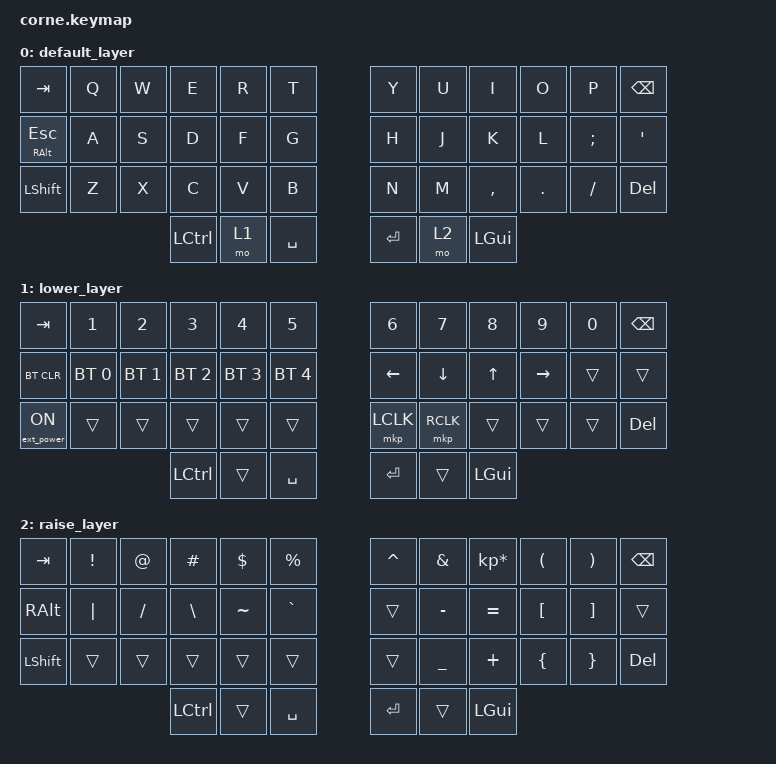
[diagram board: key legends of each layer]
/*
 * Copyright (c) 2020 The ZMK Contributors
 *
 * SPDX-License-Identifier: MIT
 */

#include <behaviors.dtsi>
#include <dt-bindings/zmk/keys.h>
#include <dt-bindings/zmk/bt.h>
#include <dt-bindings/zmk/mouse.h>
#include <dt-bindings/zmk/ext_power.h>

/ {
        keymap {
                compatible = "zmk,keymap";

                default_layer {
// -----------------------------------------------------------------------------------------
// | TAB      |  Q  |  W  |  E  |  R  |  T  |   |  Y  |  U   |  I  |  O  |  P  | BKSP |
// | ALT/ESC  |  A  |  S  |  D  |  F  |  G  |   |  H  |  J   |  K  |  L  |  ;  |  '   |
// | SHFT     |  Z  |  X  |  C  |  V  |  B  |   |  N  |  M   |  ,  |  .  |  /  | DEL  |
//                    | CTRL | LWR | SPC |   | ENT | RSE  | GUI |
                        bindings = <
   &kp TAB   &kp Q &kp W &kp E &kp R &kp T   &kp Y &kp U  &kp I     &kp O   &kp P    &kp BSPC
   &mt RALT ESC  &kp A &kp S &kp D &kp F &kp G   &kp H &kp J  &kp K     &kp L   &kp SEMI &kp SQT
   &kp LSHFT &kp Z   &kp X &kp C &kp V &kp B         &kp N &kp M  &kp COMMA &kp DOT &kp FSLH &kp DEL
                     &kp LCTRL &mo 1 &kp SPACE        &kp RET &mo 2 &kp LGUI
                        >;
                };
                lower_layer {
// -----------------------------------------------------------------------------------------
// |  TAB |  1  |  2  |  3  |  4  |  5  |   |  6    |  7    |  8  |  9  |  0  | BKSP |
// | BTCLR| BT1 | BT2 | BT3 | BT4 | BT5 |   | LFT   | DWN   |  UP | RGT |     |      |
// | PWRON|     |     |     |     |     |   | MLCLK | MRCLK |     |     |     | DEL  |
//                    | CTRL|     | SPC |   | ENT   |       | GUI |
                        bindings = <
   &kp TAB    &kp N1       &kp N2       &kp N3       &kp N4       &kp N5         &kp N6   &kp N7   &kp N8 &kp N9    &kp N0 &kp BSPC
   &bt BT_CLR &bt BT_SEL 0 &bt BT_SEL 1 &bt BT_SEL 2 &bt BT_SEL 3 &bt BT_SEL 4   &kp LEFT &kp DOWN &kp UP &kp RIGHT &trans &trans
   &ext_power EP_ON  &trans       &trans       &trans       &trans       &trans       &mkp LCLK   &mkp RCLK   &trans &trans    &trans &kp DEL
                                    &kp LCTRL     &trans       &kp SPACE      &kp RET  &trans   &kp LGUI
                        >;
                };

                raise_layer {
// -----------------------------------------------------------------------------------------
// |  TAB |  !  |  @  |  #  |  $  |  %  |   |  ^  |  &  |  *  |  (  |  )  | BKSP |
// | ALT  | "|" |  /  |  \  |  ~  |  `  |   |     |  -  |  =  |  [  |  ]  |      |
// | SHFT |     |     |     |     |     |   |     |  _  |  +  |  {  |  }  |  DEL |
//                    | CTRL|     | SPC |   | ENT |     | GUI |
                        bindings = <
   &kp  TAB  &kp EXCL &kp AT &kp HASH &kp DLLR &kp PRCNT   &kp CARET &kp AMPS  &kp KP_MULTIPLY &kp LPAR &kp RPAR &kp BSPC
   &kp RALT  &kp PIPE &kp FSLH &kp BSLH &kp TILDE &kp GRAVE     &trans &kp MINUS &kp EQUAL &kp LBKT  &kp RBKT &trans
   &kp LSHFT &trans   &trans &trans   &trans   &trans     &trans &kp UNDER &kp PLUS &kp LBRC &kp RBRC  &kp DEL
                             &kp LCTRL &trans   &kp SPACE   &kp RET   &trans    &kp LGUI
                        >;
                };
        };
};
